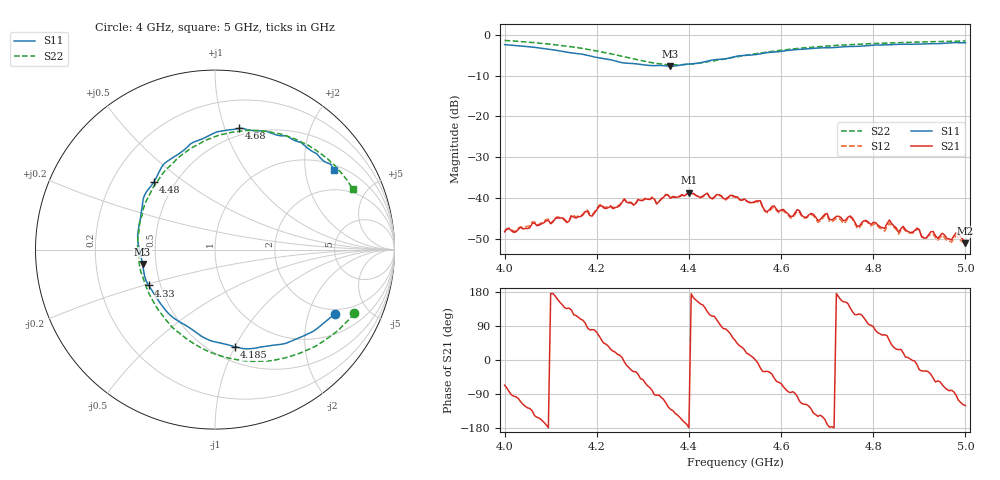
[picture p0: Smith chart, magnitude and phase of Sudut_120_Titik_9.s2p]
# Hz S RI R 50
! CMT, C1220, 16058040, 17.2.0/1
! Date: 15/08/2018 11:32:46
! Data: Format (Calibration Info)
! Freq  S11: Re/Im (F2)  S21: Re/Im (F2)  S12: Re/Im (F2)  S22: Re/Im (F2)
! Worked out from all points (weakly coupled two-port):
!   201 points, 4 GHz to 5 GHz, reference 50 ohm
!   highest |S21| = -38.74 dB at 4.4 GHz (marker M1); lowest = -51.1 dB at 5 GHz (marker M2)
!   lowest |S11| = -7.7 dB at 4.36 GHz (marker M3), VSWR 2.40, Z = 21 - j4.08 ohm
!   |S11| at or under -10 dB: nowhere
!   |S22| runs from -7.4 to -1.4 dB; largest |S21 - S12| = 0.00047
!   S11 on the Smith chart (normalised r, x): 4 GHz: 1.79, -3.00; 4.185 GHz: 0.64, -1.00; 4.33 GHz: 0.43, -0.21; 4.48 GHz: 0.38, +0.39; 4.68 GHz: 0.44, +1.12; 5 GHz: 1.16, +2.85
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4e9  0.6672 -0.357  0.00153 -0.00352  0.00178 -0.00356  0.7743 -0.3554
4.17e9  0.1615 -0.5523  -0.00159 0.00597  -0.00174 0.00608  0.2737 -0.6211
4.185e9  0.1091 -0.5412  0.00111 0.00596  0.00106 0.00625  0.2094 -0.6227
4.26e9  -0.1715 -0.4168  0.00959 -0.00088  0.00971 -0.00092  -0.119 -0.5233
4.33e9  -0.3695 -0.1997  -0.000421 -0.00842  -0.000581 -0.00847  -0.3554 -0.2686
4.335e9  -0.3796 -0.1822  -0.000413 -0.00896  -0.000542 -0.00899  -0.3675 -0.2451
4.36e9  -0.4035 -0.0807  -0.0064 -0.00756  -0.00653 -0.00762  -0.4127 -0.1253
4.4e9  -0.4305 0.085  -0.0116 -0.00027  -0.0116 2.78e-05  -0.4276 0.0753
4.48e9  -0.3424 0.3754  0.00136 0.00965  0.00152 0.00936  -0.3007 0.4104
4.5e9  -0.3045 0.446  0.00637 0.00818  0.00625 0.008  -0.2456 0.4716
4.555e9  -0.167 0.5592  0.00859 -0.00331  0.00839 -0.00345  -0.0838 0.591
4.57e9  -0.1364 0.5885  0.00589 -0.00336  0.00562 -0.00345  -0.039 0.6146
4.67e9  0.1144 0.6712  -0.00481 -0.00408  -0.00467 -0.00386  0.2488 0.6633
4.68e9  0.1331 0.6756  -0.0045 -0.00273  -0.00432 -0.00256  0.2734 0.6599
4.75e9  0.2896 0.6575  -0.00442 0.00408  -0.00439 0.00394  0.4338 0.6203
4.765e9  0.3219 0.6453  -0.00222 0.00389  -0.00211 0.00369  0.463 0.6092
4.785e9  0.3701 0.6337  -0.00112 0.00516  -0.0012 0.00504  0.5013 0.5904
4.825e9  0.4271 0.6168  0.00168 0.00388  0.00166 0.00355  0.5681 0.5496
4.835e9  0.4457 0.6071  0.00335 0.00419  0.00297 0.00391  0.5828 0.5388
4.855e9  0.4778 0.5966  0.00337 0.00174  0.00318 0.00167  0.6127 0.5166
4.98e9  0.6462 0.4724  -0.000201 -0.00373  -0.000192 -0.00343  0.7508 0.3624
5e9  0.6613 0.4452  -0.00139 -0.0024  -0.00114 -0.00229  0.7689 0.3358
